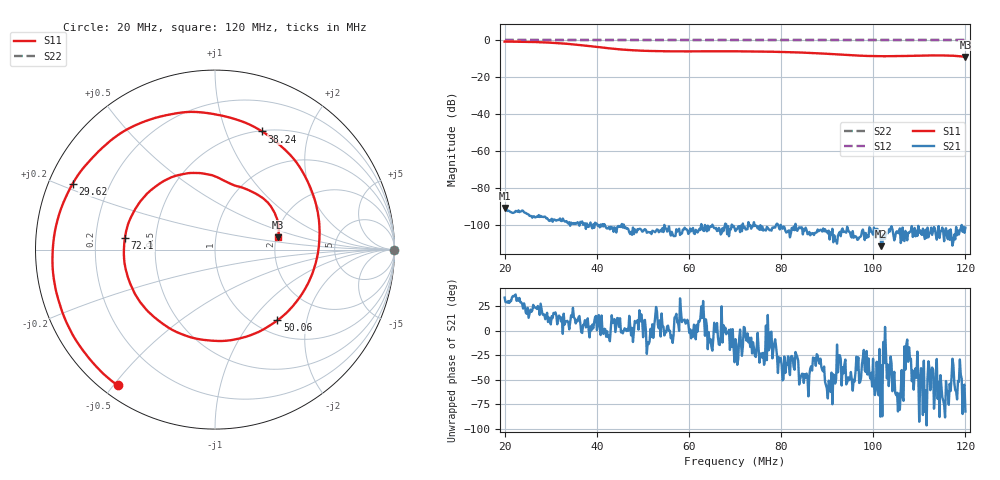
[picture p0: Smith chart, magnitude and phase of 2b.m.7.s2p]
! Anritsu VNA Master:  Model: MS2036C/10/77
! SN:  1601066
! /card0/usr/18may27.balun/252b.m8.s2p
! Existing Calibration Information:
! TYPE:  Current Settings,  Active Cal Settings
! TIME:  05/27/2018 01:31:50 PM,  05/27/2018 01:14:08 PM
! INTERNAL TEMP:  51.8 C,  52.0 C
! # POINTS:  500,  500
! START FREQ:  20.000 MHz,  20.000 MHz
! STOP FREQ:  120.000 MHz,  120.000 MHz
! SOURCE POWER:  High,  High
! IFBW:  50 Hz,  50 Hz
! AVG FACTOR:  1 ,  1
! REF PLANE 1:  0 mm,  0 mm
! REF PLANE 2:  0 mm,  0 mm
! CAL TYPE:  Full S11,  Full S11
! CAL METHOD:  SOLT,  SOLT
! CAL LINE TYPE:  Coax,  Coax
! DUT PORT 1:  K-Conn(M),  K-Conn(M)
! DUT PORT 2:  K-Conn(M),  K-Conn(M)
! CAL STATUS:  OK: Accuracy High,  --
# GHZ S DB R 50.0
! FREQ.GHZ  S11DB  S11A  S21DB  S21A  S12DB  S12A  S22DB  S22A
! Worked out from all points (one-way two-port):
!   500 points, 20 MHz to 120 MHz, reference 50 ohm
!   highest |S21| = -90.74 dB at 20 MHz (marker M1); lowest = -111.5 dB at 101.8 MHz (marker M2)
!   lowest |S11| = -8.9 dB at 120 MHz (marker M3), VSWR 2.12, Z = 103 + j16.2 ohm
!   |S11| at or under -10 dB: nowhere
!   |S22| runs from 0.0 to 0.0 dB; largest |S21 - S12| = 1
!   S11 on the Smith chart (normalised r, x): 20 MHz: 0.05, -0.51; 29.62 MHz: 0.07, +0.22; 38.24 MHz: 0.51, +1.35; 50.06 MHz: 1.25, -1.36; 72.1 MHz: 0.33, +0.06; 120 MHz: 2.05, +0.32
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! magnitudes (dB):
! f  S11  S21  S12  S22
! 20 MHz  -0.6  -90.7  0.0  0.0
! 25.81 MHz  -0.8  -95.2  0.0  0.0
! 29.62 MHz  -1.2  -97.6  0.0  0.0
! 32.83 MHz  -1.7  -97.4  0.0  0.0
! 36.83 MHz  -2.6  -98.1  0.0  0.0
! 38.24 MHz  -3.0  -101.0  0.0  0.0
! 44.45 MHz  -4.7  -101.2  0.0  0.0
! 47.05 MHz  -5.2  -104.0  0.0  0.0
! 50.06 MHz  -5.6  -103.4  0.0  0.0
! 53.47 MHz  -5.8  -103.9  0.0  0.0
! 60.68 MHz  -5.9  -102.5  0.0  0.0
! 70.1 MHz  -5.9  -103.3  0.0  0.0
! 72.1 MHz  -5.9  -101.1  0.0  0.0
! 79.32 MHz  -6.2  -99.7  0.0  0.0
! 84.13 MHz  -6.5  -101.8  0.0  0.0
! 86.73 MHz  -6.8  -104.4  0.0  0.0
! 97.15 MHz  -8.2  -106.5  0.0  0.0
! 101.8 MHz  -8.5  -111.5  0.0  0.0
! 103.4 MHz  -8.5  -102.4  0.0  0.0
! 114.2 MHz  -8.1  -100.6  0.0  0.0
! 117.6 MHz  -8.3  -105.2  0.0  0.0
! 120 MHz  -8.9  -101.5  0.0  0.0
